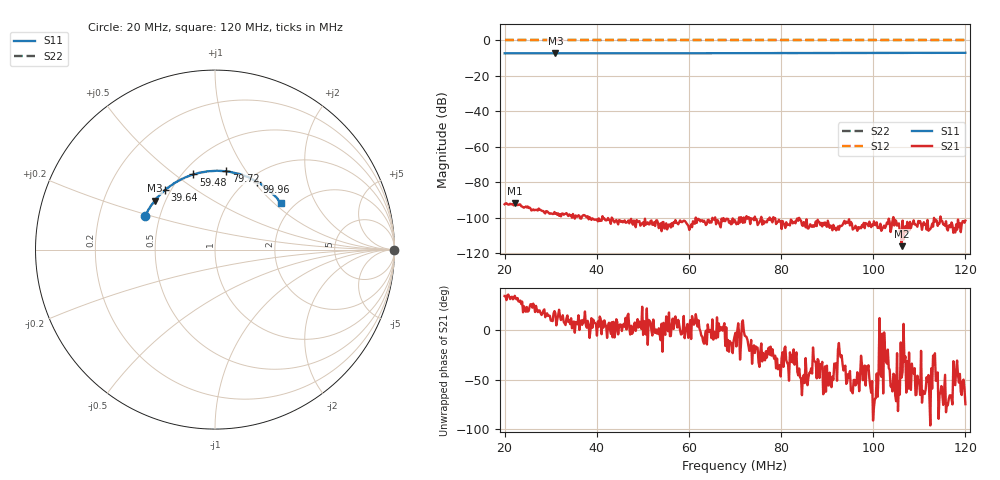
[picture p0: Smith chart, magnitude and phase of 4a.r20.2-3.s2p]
! Anritsu VNA Master:  Model: MS2036C/10/77
! SN:  1601066
! /bd0/18may26.balun/4a.r20.2.s2p
! Existing Calibration Information:
! TYPE:  Current Settings,  Active Cal Settings
! TIME:  05/26/2018 03:22:31 PM,  05/26/2018 02:51:55 PM
! INTERNAL TEMP:  59.5 C,  59.5 C
! # POINTS:  500,  500
! START FREQ:  20.000 MHz,  20.000 MHz
! STOP FREQ:  120.000 MHz,  120.000 MHz
! SOURCE POWER:  High,  High
! IFBW:  50 Hz,  50 Hz
! AVG FACTOR:  1 ,  1
! REF PLANE 1:  0 mm,  0 mm
! REF PLANE 2:  0 mm,  0 mm
! CAL TYPE:  Full S11,  Full S11
! CAL METHOD:  SOLT,  SOLT
! CAL LINE TYPE:  Coax,  Coax
! DUT PORT 1:  K-Conn(M),  K-Conn(M)
! DUT PORT 2:  K-Conn(M),  K-Conn(M)
! CAL STATUS:  OK: Accuracy High,  --
# GHZ S DB R 50.0
! FREQ.GHZ  S11DB  S11A  S21DB  S21A  S12DB  S12A  S22DB  S22A
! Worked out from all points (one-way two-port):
!   500 points, 20 MHz to 120 MHz, reference 50 ohm
!   highest |S21| = -91.69 dB at 22.2 MHz (marker M1); lowest = -115.9 dB at 106.2 MHz (marker M2)
!   lowest |S11| = -7.3 dB at 31.02 MHz (marker M3), VSWR 2.52, Z = 21.9 + j14.7 ohm
!   |S11| at or under -10 dB: nowhere
!   |S22| runs from 0.0 to 0.0 dB; largest |S21 - S12| = 1
!   S11 on the Smith chart (normalised r, x): 20 MHz: 0.41, +0.19; 39.64 MHz: 0.47, +0.38; 59.48 MHz: 0.57, +0.59; 79.72 MHz: 0.75, +0.82; 99.96 MHz: 1.10, +1.04; 120 MHz: 1.71, +1.10
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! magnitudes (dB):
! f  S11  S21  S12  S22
! 20 MHz  -7.3  -92.3  0.0  0.0
! 22.2 MHz  -7.3  -91.7  0.0  0.0
! 31.02 MHz  -7.3  -97.7  0.0  0.0
! 32.83 MHz  -7.3  -98.3  0.0  0.0
! 36.83 MHz  -7.3  -99.0  0.0  0.0
! 39.64 MHz  -7.3  -101.1  0.0  0.0
! 53.47 MHz  -7.2  -105.8  0.0  0.0
! 59.48 MHz  -7.2  -103.0  0.0  0.0
! 70.1 MHz  -7.2  -102.1  0.0  0.0
! 73.91 MHz  -7.1  -100.5  0.0  0.0
! 77.52 MHz  -7.2  -99.8  0.0  0.0
! 79.72 MHz  -7.1  -102.0  0.0  0.0
! 86.73 MHz  -7.1  -105.1  0.0  0.0
! 93.75 MHz  -7.0  -101.7  0.0  0.0
! 97.15 MHz  -7.1  -105.3  0.0  0.0
! 99.96 MHz  -7.0  -104.3  0.0  0.0
! 103.4 MHz  -7.0  -100.4  0.0  0.0
! 106.2 MHz  -7.0  -115.9  0.0  0.0
! 110 MHz  -7.0  -102.9  0.0  0.0
! 112.8 MHz  -7.0  -103.3  0.0  0.0
! 115.4 MHz  -6.9  -103.6  0.0  0.0
! 120 MHz  -7.0  -101.6  0.0  0.0
